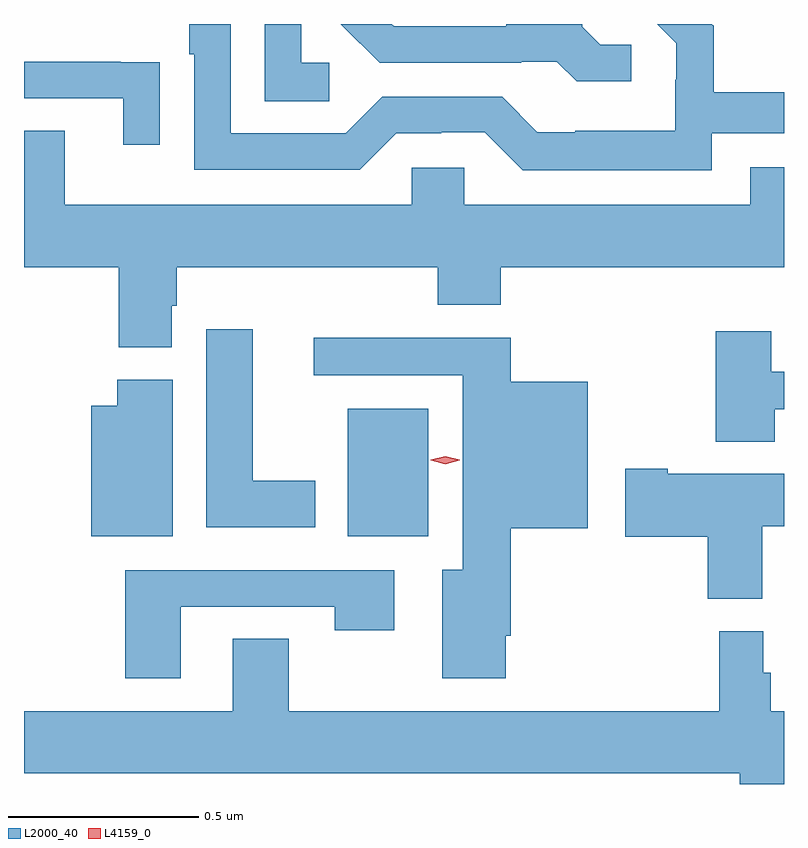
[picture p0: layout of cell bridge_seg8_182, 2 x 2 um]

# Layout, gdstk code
import gdstk
lib = gdstk.Library(unit=1e-6, precision=1e-09)
def R(c, l, rs):  # rectangles x0, y0, x1, y1
    for r in rs: c.add(gdstk.rectangle(r[:2], r[2:], *l))
def P(c, l, *ps):  # polygons
    for p in ps: c.add(gdstk.Polygon(p, *l))
L2000_40 = (2000, 40)
L4159_0 = (4159, 0)

bridge_seg8_182 = lib.new_cell('bridge_seg8_182')
R(bridge_seg8_182, L2000_40, [(276.29,1091.816,276.502,1092.151)])
P(bridge_seg8_182, L2000_40, [(276.241,1093.062),(276.168,1093.062),(276.168,1093.164),(276.072,1093.164),(276.072,1092.961),(276.241,1092.961)],
  [(277.248,1092.876),(277.438,1092.876),(277.438,1092.985),(277.253,1092.985),(277.253,1093.159),(277.248,1093.164),(277.104,1093.164),(277.154,1093.114),(277.154,1093.017),(277.152,1093.017),(277.152,1092.883),(276.889,1092.883),(276.889,1092.879),(276.789,1092.879),(276.696,1092.972),(276.381,1092.972),(276.285,1092.876),(275.982,1092.876),(275.982,1093.164),(275.873,1093.164),(275.873,1093.085),(275.886,1093.085),(275.886,1092.78),(276.321,1092.78),(276.417,1092.876),(276.536,1092.876),(276.536,1092.879),(276.651,1092.879),(276.751,1092.779),(277.248,1092.779)],
  [(277.036,1093.11),(276.954,1093.11),(276.907,1093.157),(276.907,1093.164),(276.707,1093.164),(276.707,1093.158),(276.412,1093.158),(276.406,1093.164),(276.272,1093.164),(276.374,1093.062),(276.746,1093.062),(276.746,1093.065),(276.84,1093.065),(276.892,1093.013),(277.036,1093.013)],
  [(275.795,1093.064),(275.693,1093.064),(275.693,1093.065),(275.438,1093.065),(275.438,1092.969),(275.699,1092.969),(275.699,1092.846),(275.795,1092.846)],
  [(275.827,1092.423),(275.84,1092.423),(275.84,1092.524),(276.527,1092.524),(276.527,1092.425),(276.692,1092.425),(276.692,1092.524),(277.438,1092.524),(277.438,1092.787),(277.349,1092.787),(277.349,1092.688),(276.597,1092.688),(276.597,1092.786),(276.459,1092.786),(276.459,1092.688),(275.545,1092.688),(275.545,1092.883),(275.438,1092.883),(275.438,1092.524),(275.687,1092.524),(275.687,1092.313),(275.827,1092.313)],
  [(276.205,1091.962),(276.04,1091.962),(276.04,1092.361),(275.918,1092.361),(275.918,1091.84),(276.205,1091.84)],
  [(277.413,1092.15),(277.438,1092.15),(277.438,1092.249),(277.405,1092.249),(277.405,1092.355),(277.258,1092.355),(277.258,1092.065),(277.413,1092.065)],
  [(276.706,1091.554),(276.719,1091.554),(276.719,1091.837),(276.922,1091.837),(276.922,1092.223),(276.719,1092.223),(276.719,1092.338),(276.201,1092.338),(276.201,1092.24),(276.593,1092.24),(276.593,1091.728),(276.539,1091.728),(276.539,1091.442),(276.706,1091.442)],
  [(275.83,1092.228),(275.684,1092.228),(275.684,1092.16),(275.615,1092.16),(275.615,1091.816),(275.83,1091.816)],
  [(277.381,1091.842),(277.438,1091.842),(277.438,1091.98),(277.132,1091.98),(277.132,1091.993),(277.02,1091.993),(277.02,1091.815),(277.237,1091.815),(277.237,1091.651),(277.381,1091.651)],
  [(275.851,1091.631),(276.256,1091.631),(276.256,1091.568),(276.412,1091.568),(276.412,1091.727),(275.704,1091.727),(275.704,1091.442),(275.851,1091.442)],
  [(277.438,1091.356),(277.403,1091.356),(277.403,1091.457),(277.383,1091.457),(277.383,1091.566),(277.267,1091.566),(277.267,1091.356),(276.135,1091.356),(276.135,1091.546),(275.987,1091.546),(275.987,1091.356),(275.438,1091.356),(275.438,1091.192),(277.322,1091.192),(277.322,1091.164),(277.438,1091.164)])
P(bridge_seg8_182, L4159_0, [(276.546,1092.006),(276.508,1092.016),(276.508,1092.016),(276.508,1092.017),(276.546,1092.026),(276.585,1092.017),(276.585,1092.017),(276.585,1092.016)])

lib.write_gds('bridge_seg8_182.gds')
